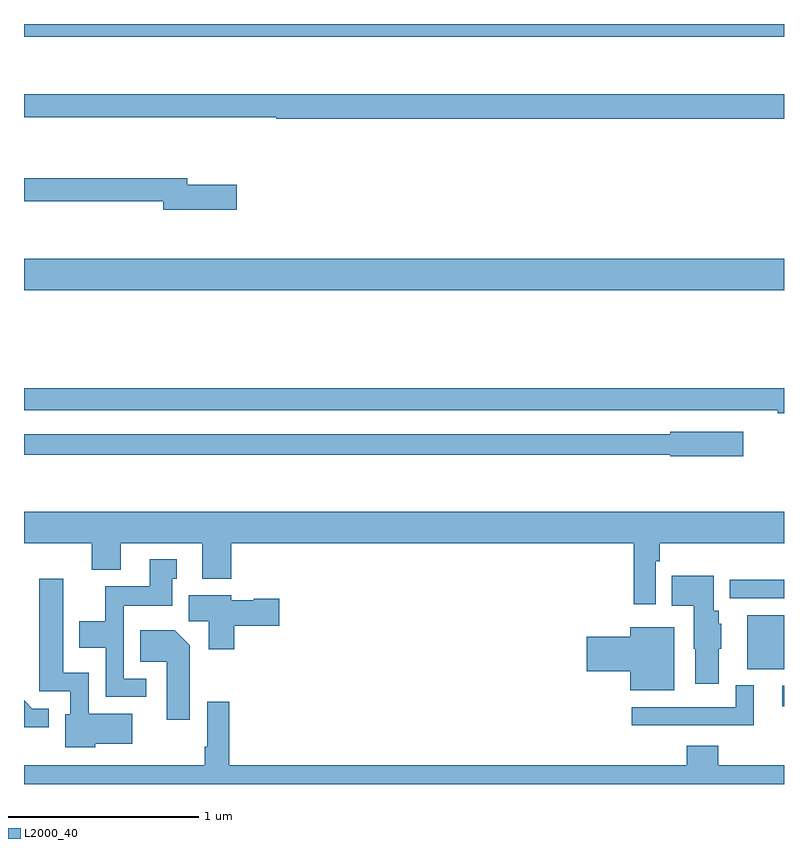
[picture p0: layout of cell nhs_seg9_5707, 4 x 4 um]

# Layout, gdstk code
import gdstk
lib = gdstk.Library(unit=1e-6, precision=1e-09)
def R(c, l, rs):  # rectangles x0, y0, x1, y1
    for r in rs: c.add(gdstk.rectangle(r[:2], r[2:], *l))
def P(c, l, *ps):  # polygons
    for p in ps: c.add(gdstk.Polygon(p, *l))
L2000_40 = (2000, 40)

nhs_seg9_5707 = lib.new_cell('nhs_seg9_5707')
R(nhs_seg9_5707, L2000_40, [(446.991,1180.908,447,1181.016), (446.807,1181.105,447,1181.389), (443,1183.1,447,1183.264), (443,1184.432,447,1184.5)])
P(nhs_seg9_5707, L2000_40, [(447,1184.131),(443,1184.131),(443,1184.01),(444.328,1184.01),(444.328,1184.002),(447,1184.002)],
  [(444.121,1183.653),(443.86,1183.653),(443.86,1183.687),(443,1183.687),(443,1183.566),(443.732,1183.566),(443.732,1183.523),(444.121,1183.523)],
  [(447,1182.584),(443,1182.584),(443,1182.468),(446.966,1182.468),(446.966,1182.452),(447,1182.452)],
  [(446.785,1182.355),(446.4,1182.355),(446.4,1182.342),(443,1182.342),(443,1182.234),(446.4,1182.234),(446.4,1182.226),(446.785,1182.226)],
  [(446.325,1181.672),(446.345,1181.672),(446.345,1181.768),(447,1181.768),(447,1181.932),(443,1181.932),(443,1181.768),(443.357,1181.768),(443.357,1181.627),(443.509,1181.627),(443.509,1181.768),(443.939,1181.768),(443.939,1181.579),(444.092,1181.579),(444.092,1181.768),(446.209,1181.768),(446.209,1181.445),(446.325,1181.445)],
  [(443.644,1181.055),(443.526,1181.055),(443.526,1181.438),(443.779,1181.438),(443.779,1181.58),(443.803,1181.58),(443.803,1181.683),(443.663,1181.683),(443.663,1181.542),(443.428,1181.542),(443.428,1181.356),(443.291,1181.356),(443.291,1181.216),(443.43,1181.216),(443.43,1180.959),(443.644,1180.959)],
  [(446.656,1181.211),(446.671,1181.211),(446.671,1181.343),(446.656,1181.343),(446.656,1181.412),(446.629,1181.412),(446.629,1181.596),(446.41,1181.596),(446.41,1181.438),(446.525,1181.438),(446.525,1181.211),(446.534,1181.211),(446.534,1181.028),(446.656,1181.028)],
  [(443.376,1180.712),(443.569,1180.712),(443.569,1180.87),(443.34,1180.87),(443.34,1181.086),(443.206,1181.086),(443.206,1181.581),(443.081,1181.581),(443.081,1180.989),(443.244,1180.989),(443.244,1180.866),(443.216,1180.866),(443.216,1180.694),(443.376,1180.694)],
  [(447,1181.574),(446.957,1181.574),(446.957,1181.576),(446.715,1181.576),(446.715,1181.478),(447,1181.478)],
  [(444.107,1181.333),(444.343,1181.333),(444.343,1181.475),(444.21,1181.475),(444.21,1181.467),(444.09,1181.467),(444.09,1181.494),(443.867,1181.494),(443.867,1181.356),(443.972,1181.356),(443.972,1181.208),(444.107,1181.208)],
  [(446.422,1181.326),(446.192,1181.326),(446.192,1181.276),(445.962,1181.276),(445.962,1181.093),(446.192,1181.093),(446.192,1180.994),(446.422,1180.994)],
  [(443.872,1181.23),(443.794,1181.308),(443.611,1181.308),(443.611,1181.144),(443.75,1181.144),(443.75,1180.839),(443.872,1180.839)],
  [(446.842,1181.02),(446.745,1181.02),(446.745,1180.905),(446.199,1180.905),(446.199,1180.809),(446.842,1180.809)],
  [(443.131,1180.896),(443.043,1180.896),(443,1180.94),(443,1180.799),(443.131,1180.799)],
  [(447,1180.6),(446.654,1180.6),(446.654,1180.702),(446.489,1180.702),(446.489,1180.6),(444.08,1180.6),(444.08,1180.933),(443.964,1180.933),(443.964,1180.696),(443.952,1180.696),(443.952,1180.6),(443,1180.6),(443,1180.5),(447,1180.5)])

lib.write_gds('nhs_seg9_5707.gds')
